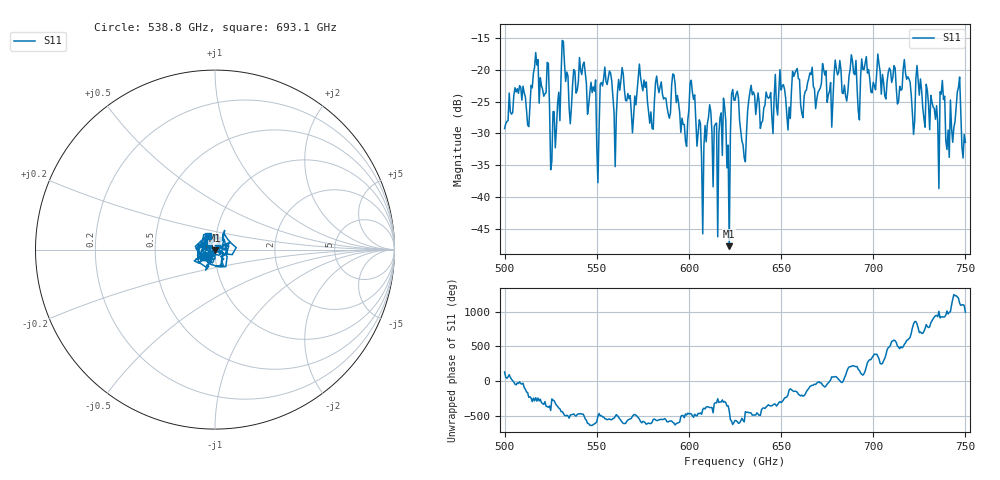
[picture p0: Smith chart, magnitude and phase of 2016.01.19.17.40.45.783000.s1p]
!Created with skrf (http://scikit-rf.org).
# GHz S RI R 50.0
!freq ReS11 ImS11
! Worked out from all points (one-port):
!   401 points, 500 GHz to 750 GHz, reference 50 ohm
!   lowest |S11| = -47.8 dB at 621.9 GHz (marker M1), VSWR 1.01, Z = 50.1 - j0.385 ohm
!   |S11| at or under -10 dB: start of sweep to end of sweep
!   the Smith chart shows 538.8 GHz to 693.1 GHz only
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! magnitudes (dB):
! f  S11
! 500 GHz  -29.2
! 513.1 GHz  -28.9
! 516.9 GHz  -17.2
! 526.2 GHz  -26.6
! 531.2 GHz  -15.4
! 535.6 GHz  -28.5
! 541.9 GHz  -20.7
! 550 GHz  -32.0
! 553.1 GHz  -22.5
! 560 GHz  -35.2
! 562.5 GHz  -23.2
! 593.8 GHz  -24.0
! 598.1 GHz  -31.2
! 601.9 GHz  -23.5
! 608.1 GHz  -32.0
! 618.8 GHz  -24.4
! 621.9 GHz  -47.8
! 625 GHz  -24.8
! 630 GHz  -33.9
! 633.8 GHz  -22.4
! 656.2 GHz  -20.2
! 687.5 GHz  -19.8
! 718.8 GHz  -21.1
! 734.4 GHz  -25.6
! 737.5 GHz  -21.7
! 740.6 GHz  -29.5
! 746.2 GHz  -22.7
! 750 GHz  -31.4
